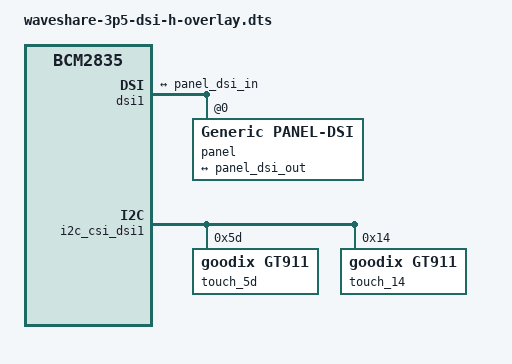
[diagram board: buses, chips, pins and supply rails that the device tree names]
/*
 * waveshare-3p5-dsi-h-overlay.dts — Waveshare 3.5inch DSI LCD (H) on a
 * Raspberry Pi 5. Compiled to overlays/waveshare-3p5-dsi-h.dtbo at build time
 * (post-build.sh, `dtc -@`); no vendor .dtbo is committed or shipped.
 *
 * Structure follows the Raspberry Pi downstream kernel's own
 * arch/arm/boot/dts/overlays/vc4-kms-dsi-generic-overlay.dts (rpi-6.12.y),
 * which supplies the generic MIPI-DSI panel binding used here (compatible
 * "Generic,panel-dsi"). Only the values that belong to this panel differ.
 *
 * Panel data — source: Waveshare wiki "3.5inch DSI LCD (H)"
 *   https://www.waveshare.com/wiki/3.5inch_DSI_LCD_(H)   retrieved 2026-11-04
 * Values taken from the vendor overlay blob it publishes
 *   https://files.waveshare.com/wiki/common/Waveshare_35DSI.dtbo
 *   sha256 ae09deaccceb80ced72519977fedc6d7becbd548a3043538c147ad40633b4611
 *   (4747 bytes), 35H variant: clock-frequency 33600000, hactive 480,
 *   hfront-porch 48, hsync-len 32, hback-porch 80, vactive 800,
 *   vfront-porch 3, vsync-len 10, vback-porch 62, width-mm 70, height-mm 50,
 *   RGB888. The panel is 480x800 portrait (800x480 landscape after rotation)
 *   and carries a goodix,gt911 touch controller on the DSI I2C bus. The
 *   controller answers at 0x5d (primary here) or 0x14, selected by the INT
 *   level during reset; both nodes are declared, in that order, as the vendor
 *   does, without inventing GPIO wiring. Measured on the owner's Pi 5
 *   (2026-11-04): a Goodix at 0x14 failed to come up with
 *   "Goodix-TS 11-0014: Error reading 1 bytes from 0x8140: -121", which is
 *   exactly what a wrong address selection looks like.
 *
 * Touch, multitouch and the missing interrupt line:
 *   The GT911 reports up to 5 simultaneous contact points. The in-kernel
 *   goodix driver publishes them as Linux input protocol B MT slots
 *   (ABS_MT_SLOT / ABS_MT_POSITION_X/Y / ABS_MT_TRACKING_ID), so libinput,
 *   Weston and Qt's Wayland client all see every finger.
 *   The vendor overlay declares no interrupt and no reset GPIO for this panel,
 *   and no primary source we have documents those pins. That is not fatal:
 *   goodix_request_irq() (drivers/input/touchscreen/goodix.c) falls back to a
 *   polling timer when client->irq is 0, which is what the vendor relies on.
 *   Polling costs latency and CPU. If a schematic confirms the pins, add
 *   interrupt-parent/interrupts and reset-gpios/irq-gpios here (and expose them
 *   as overlay parameters) instead of guessing them.
 *   touchscreen-size-x/y describe the coordinate space Weston presents after
 *   the 90 degree rotation (800x480). If touch axes come out swapped or
 *   clipped, change them to 480x800 or calibrate with
 *   weston-touch-calibrator (README.md, "Touch calibration").
 *
 * Parameters (positional or name=value):
 *   dtoverlay=waveshare-3p5-dsi-h,dsi1   DSI1, Pi 5 connector DISP1 (default)
 *   dtoverlay=waveshare-3p5-dsi-h,dsi0   DSI0, Pi 5 connector DISP0
 *   dtoverlay=waveshare-3p5-dsi-h,dsi1,one-lane   (and two/three/four-lane)
 *   clock-frequency, hactive, hfp, hsync, hbp, vactive, vfp, vsync, vbp,
 *   width-mm, height-mm: timing overrides for a different panel batch.
 *
 * Data lanes default to 2. The vendor blob leaves its one-lane fragment
 * dormant, i.e. its own default is 1 lane; a 480x800 RGB888 panel at
 * 33.6 MHz does not fit in one lane with margin, so 2 lanes is our
 * documented assumption and must be confirmed on hardware (README.md,
 * "DSI bring-up").
 */

/dts-v1/;
/plugin/;

/ {
	compatible = "brcm,bcm2835";

	dsi_frag: fragment@0 {
		target = <&dsi1>;
		__overlay__ {
			status = "okay";
			#address-cells = <1>;
			#size-cells = <0>;

			port {
				panel_dsi_out: endpoint {
					remote-endpoint = <&panel_dsi_in>;
				};
			};

			panel: panel-dsi-generic@0 {
				compatible = "Generic,panel-dsi", "panel-dsi";
				reg = <0>;
				power-supply = <0>;
				backlight = <0>;
				dsi-color-format = "RGB888";
				mode = "MODE_VIDEO";
				width-mm = <70>;
				height-mm = <50>;

				port {
					panel_dsi_in: endpoint {
						data-lanes = <1 2>;
						remote-endpoint = <&panel_dsi_out>;
					};
				};

				timing: panel-timing {
					clock-frequency = <33600000>;
					hactive = <480>;
					hfront-porch = <48>;
					hsync-len = <32>;
					hback-porch = <80>;
					vactive = <800>;
					vfront-porch = <3>;
					vsync-len = <10>;
					vback-porch = <62>;
				};
			};
		};
	};

	i2c_frag: fragment@1 {
		target = <&i2c_csi_dsi1>;
		__overlay__ {
			status = "okay";
			#address-cells = <1>;
			#size-cells = <0>;

			/* Primary address: 0x5d. */
			touch_5d: goodix@5d {
				compatible = "goodix,gt911";
				reg = <0x5d>;
				touchscreen-size-x = <800>;
				touchscreen-size-y = <480>;
			};

			/* Alternative address: 0x14 (INT level during reset). */
			touch_14: goodix@14 {
				compatible = "goodix,gt911";
				reg = <0x14>;
				touchscreen-size-x = <800>;
				touchscreen-size-y = <480>;
			};
		};
	};

	__overrides__ {
		dsi1 = <&dsi_frag>, "target:0=", <&dsi1>,
		       <&i2c_frag>, "target:0=", <&i2c_csi_dsi1>;
		dsi0 = <&dsi_frag>, "target:0=", <&dsi0>,
		       <&i2c_frag>, "target:0=", <&i2c_csi_dsi0>;
		one-lane = <&panel_dsi_in>, "data-lanes:0=", <1>;
		two-lane = <&panel_dsi_in>, "data-lanes:0=", <2>;
		three-lane = <&panel_dsi_in>, "data-lanes:0=", <3>;
		four-lane = <&panel_dsi_in>, "data-lanes:0=", <4>;
		clock-frequency = <&timing>, "clock-frequency:0";
		hactive = <&timing>, "hactive:0";
		hfp = <&timing>, "hfront-porch:0";
		hsync = <&timing>, "hsync-len:0";
		hbp = <&timing>, "hback-porch:0";
		vactive = <&timing>, "vactive:0";
		vfp = <&timing>, "vfront-porch:0";
		vsync = <&timing>, "vsync-len:0";
		vbp = <&timing>, "vback-porch:0";
		width-mm = <&panel>, "width-mm:0";
		height-mm = <&panel>, "height-mm:0";
	};
};
